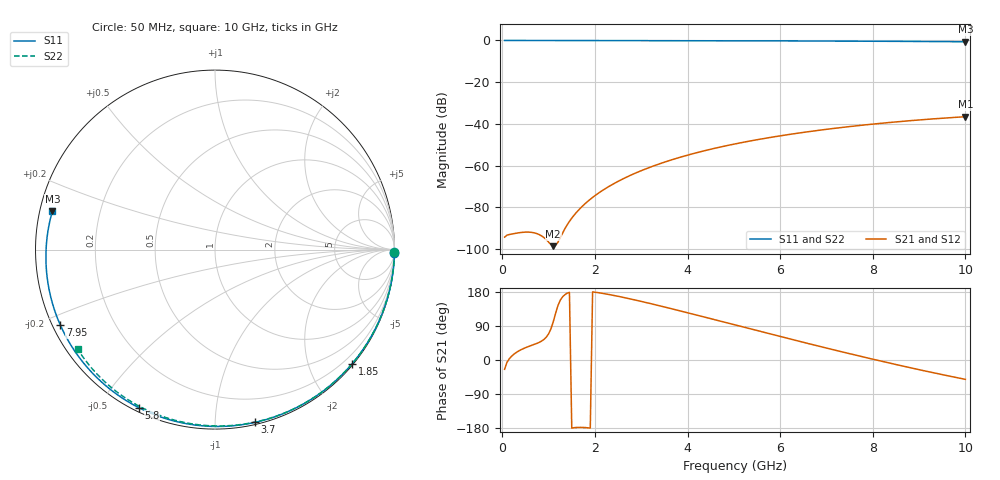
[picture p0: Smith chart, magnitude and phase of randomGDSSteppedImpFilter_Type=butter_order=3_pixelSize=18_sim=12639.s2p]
! freq	dB(S11)	phase(S11)	dB(S12)	phase(S12)
!  dB(S21)	phase(S21)	dB(S22)	phase(S22)
!S-par simulation data
#  GHz  S  DB  R 50
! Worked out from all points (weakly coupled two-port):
!   200 points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, 50 MHz to 10 GHz, reference 50 ohm
!   highest |S21| = -36.56 dB at 10 GHz (marker M1); lowest = -98.6 dB at 1.1 GHz (marker M2)
!   lowest |S11| = -0.6 dB at 10 GHz (marker M3), VSWR 28.01, Z = 1.81 + j5.86 ohm
!   |S11| at or under -10 dB: nowhere
!   |S22| runs from -0.5 to 0.0 dB; largest |S21 - S12| = 0
!   S11 on the Smith chart (normalised r, x): 50 MHz: open; 1.85 GHz: 0.03, -2.77; 3.7 GHz: 0.02, -1.26; 5.8 GHz: 0.02, -0.63; 7.95 GHz: 0.02, -0.23; 10 GHz: 0.04, +0.12
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0.05  -0.00 -1.1  -94.30 -24.5  -94.30 -24.5  -0.00 -0.8
0.55  -0.01 -12.0  -91.87 34.9  -91.87 34.9  -0.01 -9.2
1.1  -0.03 -23.9  -98.63 100.5  -98.63 100.5  -0.02 -18.2
1.7  -0.05 -36.6  -80.10 -177.8  -80.10 -177.8  -0.04 -28.0
1.75  -0.05 -37.7  -79.03 -178.0  -79.03 -178.0  -0.04 -28.8
1.85  -0.05 -39.7  -77.05 -178.9  -77.05 -178.9  -0.04 -30.4
2.15  -0.06 -46.0  -72.10 176.2  -72.10 176.2  -0.05 -35.2
2.5  -0.07 -53.1  -67.56 168.1  -67.56 168.1  -0.05 -40.8
2.9  -0.08 -61.2  -63.36 157.5  -63.36 157.5  -0.06 -47.0
3.4  -0.09 -71.1  -59.11 143.0  -59.11 143.0  -0.07 -54.7
3.7  -0.10 -76.9  -56.94 133.9  -56.94 133.9  -0.08 -59.3
4.35  -0.13 -89.3  -52.95 113.8  -52.95 113.8  -0.10 -68.9
5.05  -0.16 -102.2  -49.49 91.7  -49.49 91.7  -0.12 -79.0
5.8  -0.20 -115.7  -46.45 68.2  -46.45 68.2  -0.15 -89.5
6.7  -0.26 -131.7  -43.47 40.5  -43.47 40.5  -0.20 -101.7
7.35  -0.31 -143.2  -41.66 21.1  -41.66 21.1  -0.24 -110.2
7.95  -0.36 -153.9  -40.21 3.6  -40.21 3.6  -0.28 -118.0
8.35  -0.41 -161.2  -39.35 -7.7  -39.35 -7.7  -0.32 -123.1
8.8  -0.46 -169.6  -38.47 -20.1  -38.47 -20.1  -0.36 -128.8
9.2  -0.51 -177.2  -37.77 -30.8  -37.77 -30.8  -0.40 -133.8
9.6  -0.56 174.8  -37.13 -41.1  -37.13 -41.1  -0.44 -138.9
10  -0.62 166.6  -36.56 -51.1  -36.56 -51.1  -0.49 -143.9
